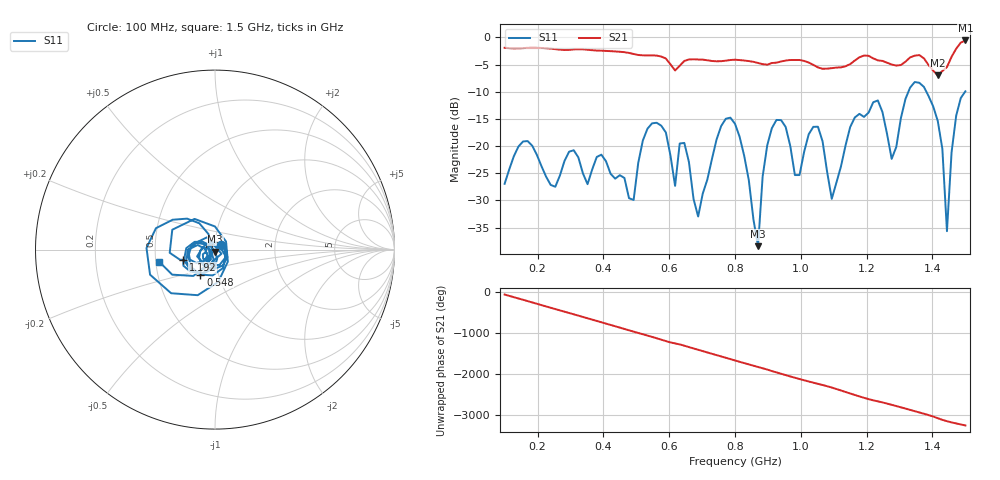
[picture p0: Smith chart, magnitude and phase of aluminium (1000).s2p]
! NanoVNA-App
! Date: 2025-09-25 15:03:04
! Start: 100MHz Stop: 1,5GHz Points: 101
! S-Parameter data: F S11 S21 S12 S22
# Hz S RI R 50
!  Frequency  S11_Real  S11_Imag  S21_Real  S21_Imag  S12_Real  S12_Imag  S22_Real  S22_Imag
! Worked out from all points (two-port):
!   101 points, 100 MHz to 1.5 GHz, reference 50 ohm
!   highest |S21| = -0.57 dB at 1.5 GHz (marker M1); lowest = -7.0 dB at 1.416 GHz (marker M2)
!   |S21| within 3 dB of the highest: start of sweep to 577.5 MHz; 1.458 GHz to end of sweep (the widest 2 of 4)
!   lowest |S11| = -38.4 dB at 870 MHz (marker M3), VSWR 1.02, Z = 50.1 - j1.19 ohm
!   |S11| at or under -10 dB: start of sweep to 1.327 GHz; 1.381 GHz to 1.499 GHz (117.8 MHz wide, 8.18 % of centre)
!   S12 and S22 are empty: the file has one direction only
!   S11 on the Smith chart (normalised r, x): 100 MHz: 1.07, +0.06; 548 MHz: 0.82, -0.23; 1.192 GHz: 0.70, -0.08; 1.5 GHz: 0.52, -0.08
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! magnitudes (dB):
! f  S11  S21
! 100 MHz  -27.0  -1.9
! 156 MHz  -19.2  -2.0
! 338 MHz  -25.0  -2.2
! 492 MHz  -29.9  -3.1
! 548 MHz  -15.8  -3.3
! 576 MHz  -16.3  -3.5
! 618 MHz  -27.3  -6.1
! 646 MHz  -19.4  -4.3
! 688 MHz  -33.0  -4.1
! 800 MHz  -15.9  -4.1
! 870 MHz  -38.4  -4.7
! 912 MHz  -16.7  -4.7
! 996 MHz  -25.3  -4.2
! 1.038 GHz  -16.5  -5.1
! 1.094 GHz  -29.7  -5.7
! 1.192 GHz  -14.6  -3.3
! 1.276 GHz  -22.4  -5.0
! 1.346 GHz  -8.2  -3.4
! 1.416 GHz  -15.4  -7.0
! 1.444 GHz  -35.7  -5.5
! 1.472 GHz  -14.4  -2.1
! 1.5 GHz  -9.9  -0.6
